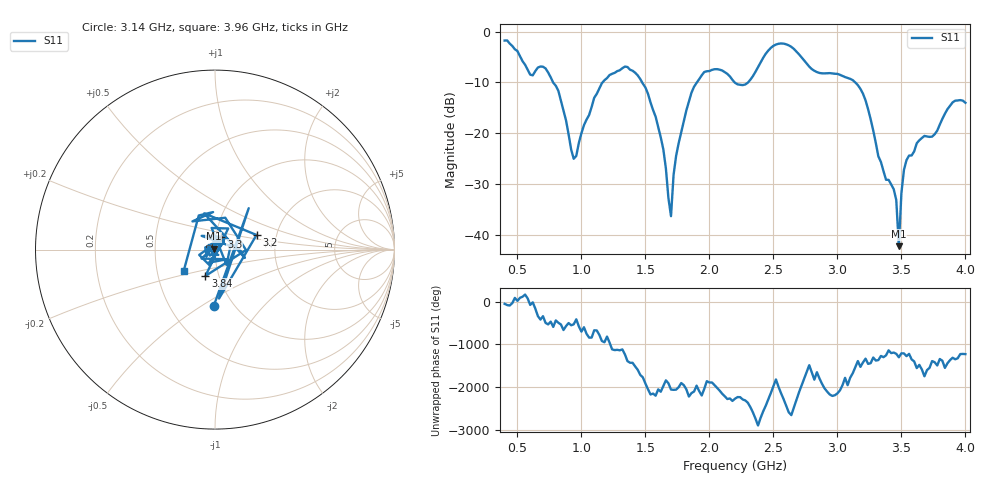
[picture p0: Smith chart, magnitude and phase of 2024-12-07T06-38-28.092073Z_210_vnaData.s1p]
!Created with skrf (http://scikit-rf.org).
# Hz S RI R 50.0
!freq ReS11 ImS11
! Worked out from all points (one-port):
!   181 points, 400 MHz to 4 GHz, reference 50 ohm
!   lowest |S11| = -42.2 dB at 3.48 GHz (marker M1), VSWR 1.02, Z = 49.4 + j0.5 ohm
!   |S11| at or under -10 dB: 779.3 MHz to 1.165 GHz (385.6 MHz wide, 39.7 % of centre); 1.475 GHz to 1.902 GHz (427.1 MHz wide, 25.3 % of centre); 3.14 GHz to end of sweep (the widest 3 of 4)
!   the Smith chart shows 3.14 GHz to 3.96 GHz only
!   S11 on the Smith chart (normalised r, x): 3.14 GHz: 0.81, -0.57; 3.2 GHz: 1.57, +0.27; 3.3 GHz: 1.06, +0.15; 3.84 GHz: 0.86, -0.26; 3.96 GHz: 0.68, -0.17
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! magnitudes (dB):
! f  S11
! 400 MHz  -1.8
! 600 MHz  -8.5
! 720 MHz  -7.2
! 860 MHz  -15.5
! 940 MHz  -25.0
! 1.1 GHz  -13.0
! 1.3 GHz  -7.6
! 1.52 GHz  -12.2
! 1.64 GHz  -23.1
! 1.7 GHz  -36.3
! 1.72 GHz  -28.2
! 1.76 GHz  -21.9
! 1.86 GHz  -12.0
! 1.96 GHz  -7.9
! 2.2 GHz  -10.1
! 2.5 GHz  -2.8
! 2.66 GHz  -3.4
! 3.1 GHz  -9.3
! 3.14 GHz  -10.0
! 3.2 GHz  -12.2
! 3.3 GHz  -21.9
! 3.46 GHz  -33.1
! 3.48 GHz  -42.2
! 3.52 GHz  -27.2
! 3.56 GHz  -24.4
! 3.84 GHz  -16.1
! 3.96 GHz  -13.5
! 4 GHz  -14.0
